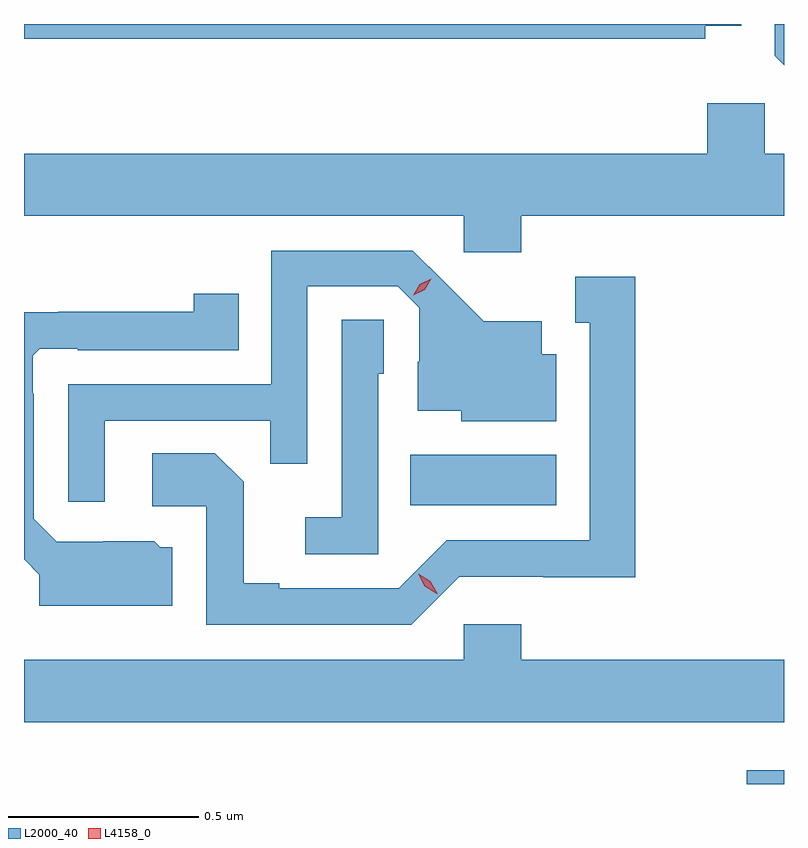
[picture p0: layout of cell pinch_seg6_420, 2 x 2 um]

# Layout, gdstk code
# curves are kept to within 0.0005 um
import gdstk
lib = gdstk.Library(unit=1e-6, precision=1e-09)
def R(c, l, rs):  # rectangles x0, y0, x1, y1
    for r in rs: c.add(gdstk.rectangle(r[:2], r[2:], *l))
def P(c, l, *ps):  # polygons
    for p in ps: c.add(gdstk.Polygon(p, *l))
L2000_40 = (2000, 40)
L4158_0 = (4158, 0)

pinch_seg6_420 = lib.new_cell('pinch_seg6_420')
R(pinch_seg6_420, L2000_40, [(649.519,917.869,649.617,917.905), (648.634,918.602,649.018,918.736)])
P(pinch_seg6_420, L2000_40, [(649.617,919.869),(649.593,919.869),(649.593,919.785),(649.617,919.761)],
  [(649.41,919.865),(649.504,919.865),(649.504,919.869),(647.617,919.869),(647.617,919.83),(649.41,919.83)],
  [(648.926,919.364),(649.617,919.364),(649.617,919.528),(649.566,919.528),(649.566,919.66),(649.415,919.66),(649.415,919.528),(647.617,919.528),(647.617,919.364),(648.774,919.364),(648.774,919.269),(648.926,919.269)],
  [(647.829,918.825),(648.265,918.825),(648.265,918.712),(648.363,918.712),(648.363,919.179),(648.6,919.179),(648.657,919.122),(648.657,918.98),(648.653,918.98),(648.653,918.851),(648.768,918.851),(648.768,918.824),(649.018,918.824),(649.018,919),(648.979,919),(648.979,919.087),(648.827,919.087),(648.64,919.272),(648.267,919.272),(648.267,918.921),(647.733,918.921),(647.733,918.612),(647.829,918.612)],
  [(648.762,918.414),(648.984,918.414),(648.984,918.413),(649.225,918.413),(649.225,919.204),(649.067,919.204),(649.067,919.083),(649.106,919.083),(649.106,918.51),(648.729,918.51),(648.603,918.384),(648.289,918.384),(648.289,918.397),(648.195,918.397),(648.195,918.664),(648.119,918.74),(647.955,918.74),(647.955,918.6),(648.096,918.6),(648.096,918.288),(648.636,918.288)],
  [(648.007,918.492),(647.976,918.492),(647.96,918.508),(647.826,918.508),(647.826,918.507),(647.703,918.507),(647.643,918.567),(647.643,918.896),(647.64,918.896),(647.64,918.996),(647.658,919.014),(647.758,919.014),(647.758,919.011),(648.182,919.011),(648.182,919.159),(648.064,919.159),(648.064,919.112),(647.707,919.112),(647.707,919.111),(647.617,919.111),(647.617,918.46),(647.657,918.42),(647.657,918.338),(648.007,918.338)],
  [(648.549,918.948),(648.564,918.948),(648.564,919.091),(648.453,919.091),(648.453,918.571),(648.357,918.571),(648.357,918.474),(648.549,918.474)],
  [(649.617,918.196),(648.926,918.196),(648.926,918.289),(648.774,918.289),(648.774,918.196),(647.617,918.196),(647.617,918.032),(649.617,918.032)])
P(pinch_seg6_420, L4158_0, [(648.703,918.37),(648.672,918.389),(648.655,918.422),(648.655,918.422),(648.655,918.422),(648.686,918.403),(648.704,918.371),(648.704,918.37)],
  [(648.641,919.155),(648.641,919.155),(648.658,919.184),(648.689,919.199),(648.689,919.199),(648.689,919.199),(648.672,919.17),(648.641,919.155)])

lib.write_gds('pinch_seg6_420.gds')
